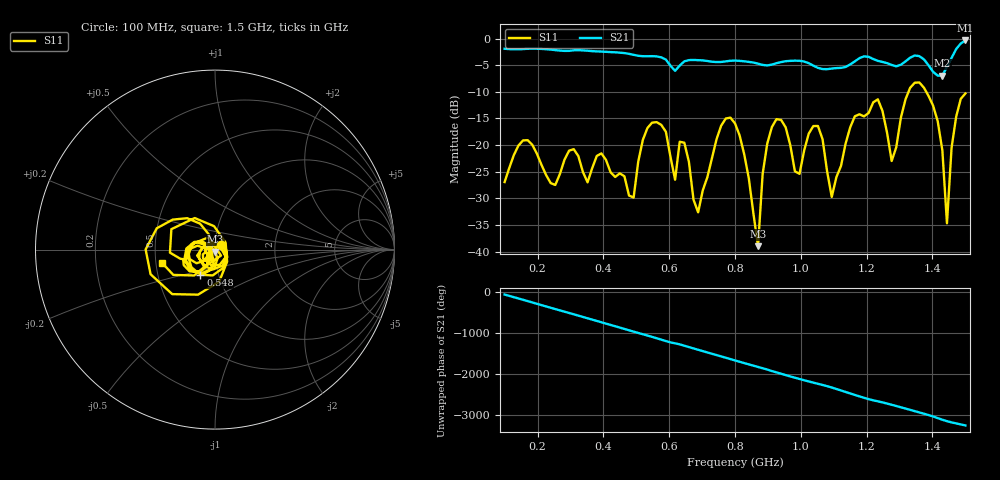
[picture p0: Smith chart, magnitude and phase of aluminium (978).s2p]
! NanoVNA-App
! Date: 2025-09-25 15:02:53
! Start: 100MHz Stop: 1,5GHz Points: 101
! S-Parameter data: F S11 S21 S12 S22
# Hz S RI R 50
!  Frequency  S11_Real  S11_Imag  S21_Real  S21_Imag  S12_Real  S12_Imag  S22_Real  S22_Imag
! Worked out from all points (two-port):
!   101 points, 100 MHz to 1.5 GHz, reference 50 ohm
!   highest |S21| = -0.37 dB at 1.5 GHz (marker M1); lowest = -7.0 dB at 1.43 GHz (marker M2)
!   |S21| within 3 dB of the highest: start of sweep to 562.5 MHz; 1.46 GHz to end of sweep (the widest 2 of 4)
!   lowest |S11| = -39.0 dB at 870 MHz (marker M3), VSWR 1.02, Z = 50.3 - j1.1 ohm
!   |S11| at or under -10 dB: start of sweep to 1.327 GHz; 1.381 GHz to end of sweep
!   S12 and S22 are empty: the file has one direction only
!   S11 on the Smith chart (normalised r, x): 100 MHz: 1.07, +0.06; 548 MHz: 0.82, -0.24; 1.5 GHz: 0.54, -0.09
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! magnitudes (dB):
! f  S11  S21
! 100 MHz  -27.0  -1.9
! 156 MHz  -19.1  -2.0
! 338 MHz  -25.1  -2.2
! 492 MHz  -29.9  -3.1
! 548 MHz  -15.8  -3.3
! 576 MHz  -16.2  -3.5
! 618 MHz  -26.5  -6.1
! 646 MHz  -19.6  -4.3
! 688 MHz  -32.6  -4.1
! 800 MHz  -15.9  -4.1
! 870 MHz  -39.0  -4.7
! 912 MHz  -16.6  -4.9
! 996 MHz  -25.4  -4.2
! 1.038 GHz  -16.4  -5.1
! 1.094 GHz  -29.7  -5.6
! 1.234 GHz  -11.4  -4.2
! 1.276 GHz  -23.0  -5.0
! 1.346 GHz  -8.3  -3.2
! 1.43 GHz  -21.0  -7.0
! 1.444 GHz  -34.7  -5.3
! 1.458 GHz  -20.5  -3.7
! 1.5 GHz  -10.3  -0.4
